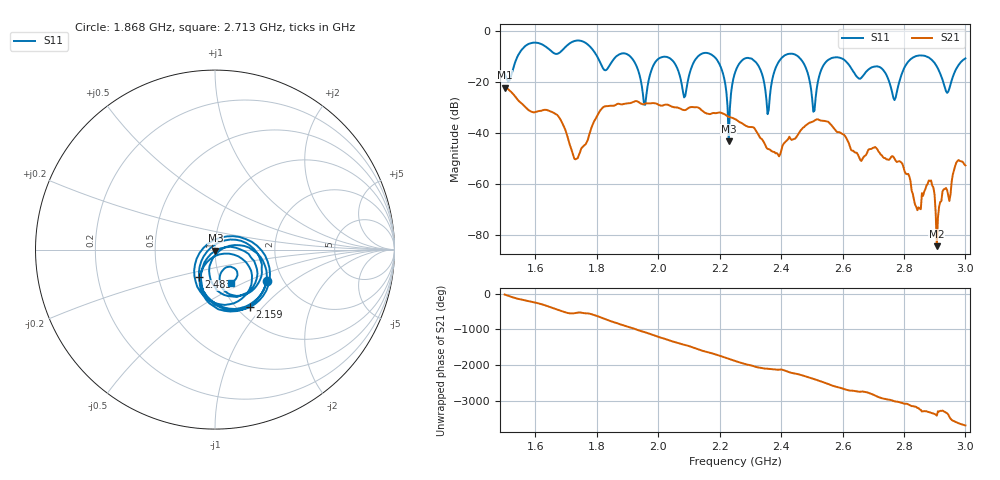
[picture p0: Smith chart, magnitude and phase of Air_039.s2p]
# HZ S RI R 50
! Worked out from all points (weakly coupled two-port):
!   404 points, 1.5 GHz to 3 GHz, reference 50 ohm
!   highest |S21| = -22.08 dB at 1.5 GHz (marker M1); lowest = -84.3 dB at 2.907 GHz (marker M2)
!   lowest |S11| = -43.2 dB at 2.23 GHz (marker M3), VSWR 1.01, Z = 50.2 - j0.653 ohm
!   |S11| at or under -10 dB: 2.182 GHz to 2.406 GHz (223.9 MHz wide, 9.76 % of centre); 2.456 GHz to 2.835 GHz (378.4 MHz wide, 14.3 % of centre); 2.875 GHz to end of sweep (the widest 3 of 7)
!   S12 and S22 are empty: the file has one direction only
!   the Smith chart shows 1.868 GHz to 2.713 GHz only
!   S11 on the Smith chart (normalised r, x): 1.868 GHz: 1.65, -0.65; 2.159 GHz: 1.14, -0.85; 2.483 GHz: 0.80, -0.26; 2.713 GHz: 1.11, -0.43
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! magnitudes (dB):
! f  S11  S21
! 1.5 GHz  -16.4  -22.1
! 1.753 GHz  -3.9  -45.5
! 1.868 GHz  -9.4  -28.4
! 1.958 GHz  -28.8  -28.4
! 2.002 GHz  -10.7  -29.0
! 2.084 GHz  -26.0  -30.9
! 2.159 GHz  -8.5  -32.3
! 2.23 GHz  -43.2  -33.6
! 2.252 GHz  -15.7  -34.6
! 2.311 GHz  -11.4  -37.8
! 2.356 GHz  -32.5  -46.1
! 2.39 GHz  -12.6  -48.3
! 2.483 GHz  -15.0  -36.8
! 2.501 GHz  -26.5  -35.6
! 2.561 GHz  -10.7  -36.5
! 2.713 GHz  -13.8  -46.3
! 2.751 GHz  -19.4  -50.5
! 2.847 GHz  -9.6  -69.1
! 2.888 GHz  -11.0  -58.6
! 2.907 GHz  -13.8  -84.3
! 2.94 GHz  -24.2  -62.3
! 3 GHz  -10.7  -52.6
